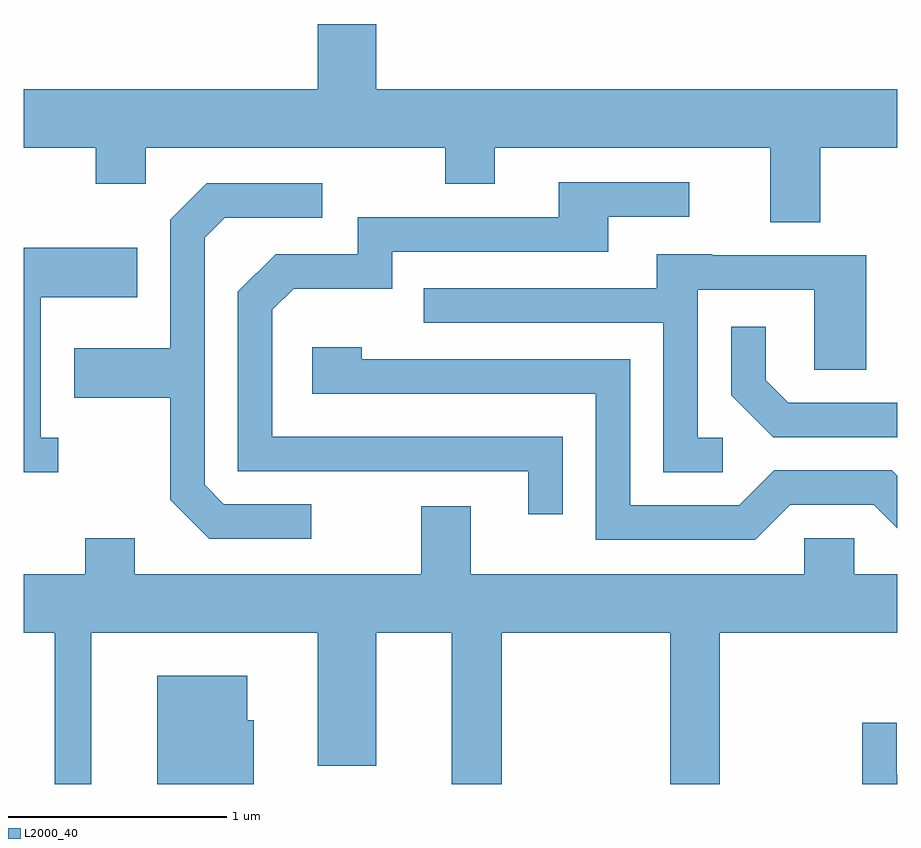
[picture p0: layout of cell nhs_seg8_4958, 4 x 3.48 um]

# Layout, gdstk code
import gdstk
lib = gdstk.Library(unit=1e-6, precision=1e-09)
def P(c, l, *ps):  # polygons
    for p in ps: c.add(gdstk.Polygon(p, *l))
L2000_40 = (2000, 40)

nhs_seg8_4958 = lib.new_cell('nhs_seg8_4958')
P(nhs_seg8_4958, L2000_40, [(337.259,1885.256),(337.611,1885.256),(337.611,1885.524),(335.224,1885.524),(335.224,1885.824),(334.956,1885.824),(334.956,1885.524),(333.611,1885.524),(333.611,1885.256),(333.941,1885.256),(333.941,1885.091),(334.169,1885.091),(334.169,1885.256),(335.541,1885.256),(335.541,1885.091),(335.769,1885.091),(335.769,1885.256),(337.031,1885.256),(337.031,1884.916),(337.259,1884.916)],
  [(336.079,1883.934),(334.749,1883.934),(334.749,1884.514),(334.847,1884.611),(335.299,1884.611),(335.299,1884.781),(336.289,1884.781),(336.289,1884.941),(336.658,1884.941),(336.658,1885.099),(336.061,1885.099),(336.061,1884.939),(335.141,1884.939),(335.141,1884.769),(334.764,1884.769),(334.591,1884.597),(334.591,1883.776),(335.921,1883.776),(335.921,1883.578),(336.079,1883.578)],
  [(334.928,1883.624),(334.527,1883.624),(334.439,1883.712),(334.439,1884.844),(334.532,1884.936),(334.978,1884.936),(334.978,1885.094),(334.449,1885.094),(334.281,1884.927),(334.281,1884.339),(333.841,1884.339),(333.841,1884.111),(334.281,1884.111),(334.281,1883.644),(334.459,1883.466),(334.928,1883.466)],
  [(333.768,1883.929),(333.689,1883.929),(333.689,1884.571),(334.129,1884.571),(334.129,1884.799),(333.611,1884.799),(333.611,1883.771),(333.768,1883.771)],
  [(336.813,1883.929),(336.699,1883.929),(336.699,1884.606),(337.231,1884.606),(337.231,1884.241),(337.469,1884.241),(337.469,1884.764),(336.765,1884.764),(336.765,1884.769),(336.511,1884.769),(336.511,1884.614),(335.443,1884.614),(335.443,1884.456),(336.541,1884.456),(336.541,1883.771),(336.813,1883.771)],
  [(337.611,1884.089),(337.112,1884.089),(337.009,1884.192),(337.009,1884.438),(336.851,1884.438),(336.851,1884.124),(337.044,1883.931),(337.611,1883.931)],
  [(337.122,1883.621),(337.504,1883.621),(337.611,1883.514),(337.611,1883.755),(337.587,1883.779),(337.049,1883.779),(336.889,1883.619),(336.389,1883.619),(336.389,1884.289),(335.159,1884.289),(335.159,1884.344),(334.931,1884.344),(334.931,1884.131),(336.231,1884.131),(336.231,1883.461),(336.962,1883.461)],
  [(333.919,1883.036),(334.956,1883.036),(334.956,1882.426),(335.224,1882.426),(335.224,1883.036),(335.571,1883.036),(335.571,1882.342),(335.799,1882.342),(335.799,1883.036),(336.571,1883.036),(336.571,1882.342),(336.799,1882.342),(336.799,1883.036),(337.611,1883.036),(337.611,1883.304),(337.414,1883.304),(337.414,1883.469),(337.186,1883.469),(337.186,1883.304),(335.659,1883.304),(335.659,1883.614),(335.431,1883.614),(335.431,1883.304),(334.119,1883.304),(334.119,1883.469),(333.891,1883.469),(333.891,1883.304),(333.611,1883.304),(333.611,1883.036),(333.751,1883.036),(333.751,1882.342),(333.919,1882.342)],
  [(334.664,1882.634),(334.634,1882.634),(334.634,1882.839),(334.221,1882.839),(334.221,1882.342),(334.664,1882.342)],
  [(337.611,1882.384),(337.609,1882.384),(337.609,1882.623),(337.451,1882.623),(337.451,1882.342),(337.611,1882.342)])

lib.write_gds('nhs_seg8_4958.gds')
